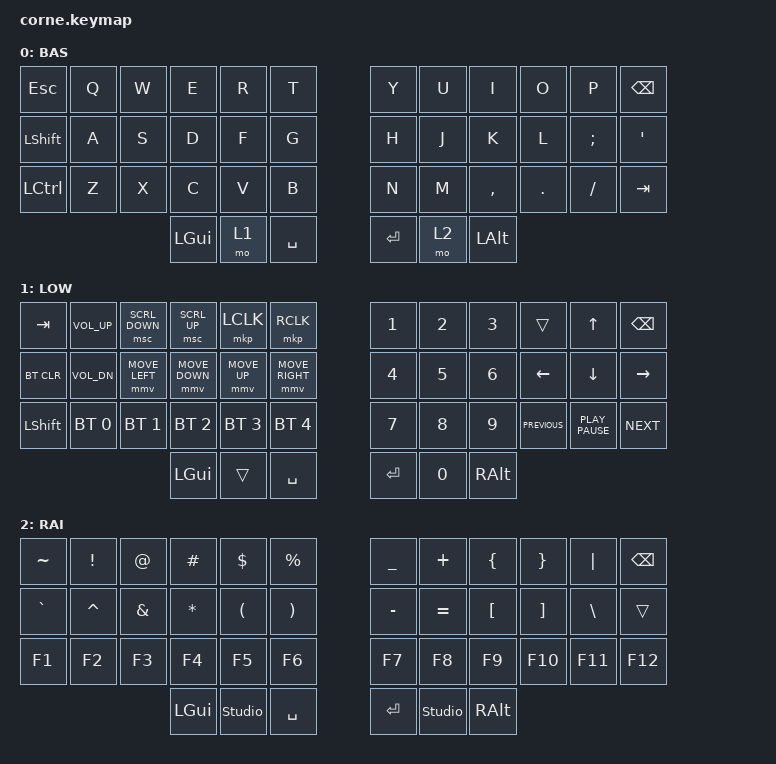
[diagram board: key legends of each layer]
/*
 * Copyright (c) 2020 The ZMK Contributors
 *
 * SPDX-License-Identifier: MIT
 */

#include <dt-bindings/led/led.h>
#include <dt-bindings/zmk/reset.h>
#include <behaviors.dtsi>
#include <dt-bindings/zmk/bt.h>
#include <dt-bindings/zmk/keys.h>
#include <dt-bindings/zmk/pointing.h>

&led_strip { chain-length = <27>; };

/ {
    combos {
        compatible = "zmk,combos";

        Delete {
            bindings = <&kp LC(G)>;
            key-positions = <11>;
            timeout-ms = <1>;
            layers = <0>;
        };
    };

    keymap {
        compatible = "zmk,keymap";

        default_layer {
            display-name = "BAS";

            // -----------------------------------------------------------------------------------------
            // |  TAB |  Q  |  W  |  E  |  R  |  T  |   |  Y  |  U   |  I  |  O  |  P  | BKSP |
            // | CTRL |  A  |  S  |  D  |  F  |  G  |   |  H  |  J   |  K  |  L  |  ;  |  '   |
            // | SHFT |  Z  |  X  |  C  |  V  |  B  |   |  N  |  M   |  ,  |  .  |  /  | ESC  |
            //                    | GUI | LWR | SPC |   | ENT | RSE  | ALT |

            bindings = <
&kp ESC         &kp Q  &kp W  &kp E     &kp R  &kp T        &kp Y    &kp U  &kp I         &kp O    &kp P     &kp BSPC
&kp LEFT_SHIFT  &kp A  &kp S  &kp D     &kp F  &kp G        &kp H    &kp J  &kp K         &kp L    &kp SEMI  &kp SQT
&kp LCTRL       &kp Z  &kp X  &kp C     &kp V  &kp B        &kp N    &kp M  &kp COMMA     &kp DOT  &kp FSLH  &kp TAB
                              &kp LGUI  &mo 1  &kp SPACE    &kp RET  &mo 2  &kp LEFT_ALT
            >;
        };

        lower_layer {
            display-name = "LOW";

            // -----------------------------------------------------------------------------------------
            // |  TAB |  1  |  2  |  3  |  4  |  5  |   |  6  |  7  |  8  |  9  |  0  | BKSP |
            // | BTCLR| BT1 | BT2 | BT3 | BT4 | BT5 |   | LFT | DWN |  UP | RGT |     |      |
            // | SHFT |     |     |     |     |     |   |     |     |     |     |     |      |
            //                    | GUI |     | SPC |   | ENT |     | ALT |

            bindings = <
&kp TAB     &kp C_VOLUME_UP  &msc SCRL_DOWN  &msc SCRL_UP    &mkp LCLK     &mkp RCLK          &kp NUMBER_1  &kp NUMBER_2  &kp NUMBER_3  &trans          &kp UP_ARROW      &kp BSPC
&bt BT_CLR  &kp C_VOL_DN     &mmv MOVE_LEFT  &mmv MOVE_DOWN  &mmv MOVE_UP  &mmv MOVE_RIGHT    &kp NUMBER_4  &kp NUMBER_5  &kp NUMBER_6  &kp LEFT_ARROW  &kp DOWN_ARROW    &kp RIGHT_ARROW
&kp LSHFT   &bt BT_SEL 0     &bt BT_SEL 1    &bt BT_SEL 2    &bt BT_SEL 3  &bt BT_SEL 4       &kp NUMBER_7  &kp NUMBER_8  &kp NUMBER_9  &kp K_PREVIOUS  &kp K_PLAY_PAUSE  &kp K_NEXT
                                             &kp LGUI        &trans        &kp SPACE          &kp RET       &kp NUMBER_0  &kp RALT
            >;
        };

        raise_layer {
            display-name = "RAI";

            // -----------------------------------------------------------------------------------------
            // |  TAB |  !  |  @  |  #  |  $  |  %  |   |  ^  |  &  |  *  |  (  |  )  | BKSP |
            // | CTRL |     |     |     |     |     |   |  -  |  =  |  [  |  ]  |  \  |  `   |
            // | SHFT |     |     |     |     |     |   |  _  |  +  |  {  |  }  | "|" |  ~   |
            //                    | GUI |     | SPC |   | ENT |     | ALT |

            bindings = <
&kp TILDE  &kp EXCLAMATION  &kp AT_SIGN    &kp HASH      &kp DOLLAR            &kp PERCENT              &kp UNDERSCORE  &kp PLUS        &kp LEFT_BRACE    &kp RIGHT_BRACE    &kp PIPE       &kp BSPC
&kp GRAVE  &kp CARET        &kp AMPERSAND  &kp ASTERISK  &kp LEFT_PARENTHESIS  &kp RIGHT_PARENTHESIS    &kp MINUS       &kp EQUAL       &kp LEFT_BRACKET  &kp RIGHT_BRACKET  &kp BACKSLASH  &trans
&kp F1     &kp F2           &kp F3         &kp F4        &kp F5                &kp F6                   &kp F7          &kp F8          &kp F9            &kp F10            &kp F11        &kp F12
                                           &kp LGUI      &studio_unlock        &kp SPACE                &kp RET         &studio_unlock  &kp RALT
            >;
        };

        extra_1 { status = "reserved"; };

        extra_2 { status = "reserved"; };

        extra_3 { status = "reserved"; };
    };
};
